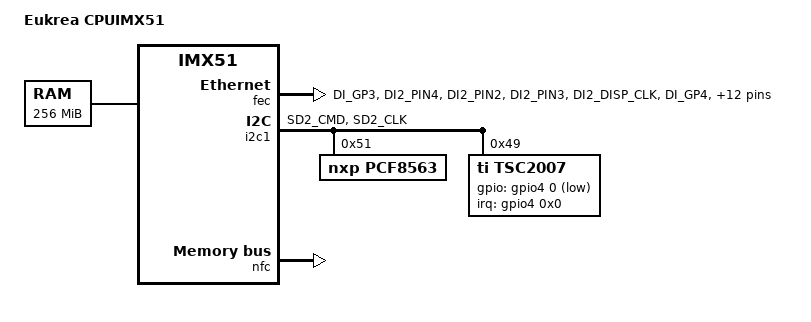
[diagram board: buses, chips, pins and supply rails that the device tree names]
// SPDX-License-Identifier: GPL-2.0-or-later
/*
 * Copyright 2013 Eukréa Electromatique <denis@eukrea.com>
 */

#include "imx51.dtsi"

/ {
	model = "Eukrea CPUIMX51";
	compatible = "eukrea,cpuimx51", "fsl,imx51";

	memory@90000000 {
		device_type = "memory";
		reg = <0x90000000 0x10000000>; /* 256M */
	};
};

&fec {
	pinctrl-names = "default";
	pinctrl-0 = <&pinctrl_fec>;
	status = "okay";
};

&i2c1 {
	pinctrl-names = "default";
	pinctrl-0 = <&pinctrl_i2c1>;
	status = "okay";

	pcf8563@51 {
		compatible = "nxp,pcf8563";
		reg = <0x51>;
	};

	tsc2007: tsc2007@49 {
		compatible = "ti,tsc2007";
		gpios = <&gpio4 0 1>;
		interrupt-parent = <&gpio4>;
		interrupts = <0x0 0x8>;
		pinctrl-names = "default";
		pinctrl-0 = <&pinctrl_tsc2007_1>;
		reg = <0x49>;
		ti,x-plate-ohms = <180>;
	};
};

&iomuxc {
	imx51-eukrea {
		pinctrl_tsc2007_1: tsc2007grp-1 {
			fsl,pins = <
				MX51_PAD_GPIO_NAND__GPIO_NAND 0x1f5
				MX51_PAD_NANDF_D8__GPIO4_0 0x1f5
			>;
		};

		pinctrl_fec: fecgrp {
			fsl,pins = <
				MX51_PAD_DI_GP3__FEC_TX_ER		0x80000000
				MX51_PAD_DI2_PIN4__FEC_CRS		0x80000000
				MX51_PAD_DI2_PIN2__FEC_MDC		0x80000000
				MX51_PAD_DI2_PIN3__FEC_MDIO		0x80000000
				MX51_PAD_DI2_DISP_CLK__FEC_RDATA1	0x80000000
				MX51_PAD_DI_GP4__FEC_RDATA2		0x80000000
				MX51_PAD_DISP2_DAT0__FEC_RDATA3		0x80000000
				MX51_PAD_DISP2_DAT1__FEC_RX_ER		0x80000000
				MX51_PAD_DISP2_DAT6__FEC_TDATA1		0x80000000
				MX51_PAD_DISP2_DAT7__FEC_TDATA2		0x80000000
				MX51_PAD_DISP2_DAT8__FEC_TDATA3		0x80000000
				MX51_PAD_DISP2_DAT9__FEC_TX_EN		0x80000000
				MX51_PAD_DISP2_DAT10__FEC_COL		0x80000000
				MX51_PAD_DISP2_DAT11__FEC_RX_CLK	0x80000000
				MX51_PAD_DISP2_DAT12__FEC_RX_DV		0x80000000
				MX51_PAD_DISP2_DAT13__FEC_TX_CLK	0x80000000
				MX51_PAD_DISP2_DAT14__FEC_RDATA0	0x80000000
				MX51_PAD_DISP2_DAT15__FEC_TDATA0	0x80000000
			>;
		};

		pinctrl_i2c1: i2c1grp {
			fsl,pins = <
				MX51_PAD_SD2_CMD__I2C1_SCL		0x400001ed
				MX51_PAD_SD2_CLK__I2C1_SDA		0x400001ed
			>;
		};
	};
};

&nfc {
	nand-bus-width = <8>;
	nand-ecc-mode = "hw";
	nand-on-flash-bbt;
	status = "okay";
};
